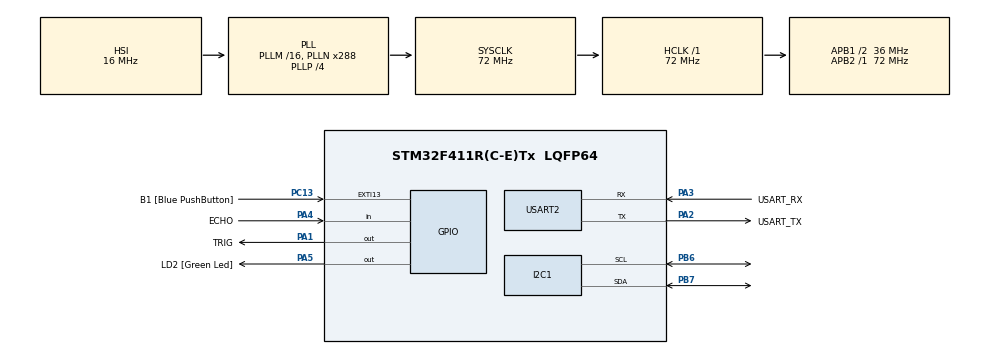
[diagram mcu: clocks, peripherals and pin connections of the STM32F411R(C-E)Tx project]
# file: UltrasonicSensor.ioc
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Mcu.Family=STM32F4
Mcu.Name=STM32F411R(C-E)Tx
Mcu.Package=LQFP64
NVIC.PriorityGroup=NVIC_PRIORITYGROUP_0
PA1.GPIO_Label=TRIG
PA1.Signal=GPIO_Output
PA13.GPIO_Label=TMS
PA13.Mode=Serial_Wire
PA13.Signal=SYS_JTMS-SWDIO
PA14.GPIO_Label=TCK
PA14.Mode=Serial_Wire
PA14.Signal=SYS_JTCK-SWCLK
PA2.GPIO_Label=USART_TX
PA2.Mode=Asynchronous
PA2.Signal=USART2_TX
PA3.GPIO_Label=USART_RX
PA3.Mode=Asynchronous
PA3.Signal=USART2_RX
PA4.GPIO_Label=ECHO
PA4.Signal=GPIO_Input
PA5.GPIO_Label=LD2 [Green Led]
PA5.Signal=GPIO_Output
PB3.GPIO_Label=SWO
PB3.Signal=SYS_JTDO-SWO
PB6.Mode=I2C
PB6.Signal=I2C1_SCL
PB7.Mode=I2C
PB7.Signal=I2C1_SDA
PC13-ANTI_TAMP.GPIO_Label=B1 [Blue PushButton]
PC13-ANTI_TAMP.GPIO_ModeDefaultEXTI=GPIO_MODE_IT_FALLING
PC13-ANTI_TAMP.Signal=GPXTI13
PC14-OSC32_IN.Signal=RCC_OSC32_IN
PC15-OSC32_OUT.Signal=RCC_OSC32_OUT
PH0\ -\ OSC_IN.Mode=HSE-External-Oscillator
PH0\ -\ OSC_IN.Signal=RCC_OSC_IN
PH1\ -\ OSC_OUT.Mode=HSE-External-Oscillator
PH1\ -\ OSC_OUT.Signal=RCC_OSC_OUT
ProjectManager.HeapSize=0x200
ProjectManager.StackSize=0x400
ProjectManager.TargetToolchain=STM32CubeIDE
RCC.48MHZClocksFreq_Value=72000000
RCC.AHBFreq_Value=72000000
RCC.APB1CLKDivider=RCC_HCLK_DIV2
RCC.APB1Freq_Value=36000000
RCC.APB1TimFreq_Value=72000000
RCC.APB2Freq_Value=72000000
RCC.APB2TimFreq_Value=72000000
RCC.CortexFreq_Value=72000000
RCC.FLatency-AdvancedSettings=FLASH_LATENCY_2
RCC.HCLKFreq_Value=72000000
RCC.HSE_VALUE=8000000
RCC.HSI_VALUE=16000000
RCC.LSE_VALUE=32768
RCC.PLLN=288
RCC.PLLP=RCC_PLLP_DIV4
RCC.SYSCLKFreq_VALUE=72000000
RCC.SYSCLKSource=RCC_SYSCLKSOURCE_PLLCLK
RCC.VCOOutputFreq_Value=288000000
USART2.VirtualMode=VM_ASYNC
board=NUCLEO-F411RE

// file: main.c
/* USER CODE BEGIN Header */
/**
  ******************************************************************************
  * @file           : main.c
  * @brief          : Main program body
  ******************************************************************************
  * @attention
  *
  * <h2><center>&copy; Copyright (c) 2019 STMicroelectronics.
  * All rights reserved.</center></h2>
  *
  * This software component is licensed by ST under BSD 3-Clause license,
  * the "License"; You may not use this file except in compliance with the
  * License. You may obtain a copy of the License at:
  *                        opensource.org/licenses/BSD-3-Clause
  *
  ******************************************************************************
  */
/* USER CODE END Header */

#include "main.h"
#include "stm32f4xx.h"
#include "dwt_stm32_delay.h"

I2C_HandleTypeDef hi2c1;

UART_HandleTypeDef huart2;

void SystemClock_Config(void);
static void MX_GPIO_Init(void);
static void MX_I2C1_Init(void);
static void MX_USART2_UART_Init(void);

/* USER CODE BEGIN 0 */

int k=0;
uint32_t local_time, sensor_time;
uint32_t distance;

uint32_t hcsr04_read (void)
{

	local_time=0;
	HAL_GPIO_WritePin(GPIOA, TRIG_Pin, GPIO_PIN_RESET);  // pull the TRIG pin HIGH
	DWT_Delay_us(2); //wait for 2 us

	HAL_GPIO_WritePin(GPIOA, TRIG_Pin, GPIO_PIN_SET);  // pull the TRIG pin HIGH
	DWT_Delay_us(10); //wait for 10 us

	HAL_GPIO_WritePin(GPIOA, TRIG_Pin, GPIO_PIN_RESET);  // pull the TRIG pin low

	// read the time for which the pin is high

	while (!(HAL_GPIO_ReadPin(GPIOA, ECHO_Pin)))// wait for the ECHO pin to go high
	{
		//HAL_GPIO_WritePin(GPIOA, LD2_Pin,GPIO_PIN_RESET);
	}

	while (HAL_GPIO_ReadPin(GPIOA, ECHO_Pin))    // while the pin is high
	 {
		//HAL_GPIO_WritePin(GPIOA, LD2_Pin, GPIO_PIN_SET);
		local_time++;   // measure time for which the pin is high
		DWT_Delay_us(1); //wait for 1 us

	 }
	return local_time*2;
}

/* USER CODE END 0 */

int main(void)
{

  /* MCU Configuration--------------------------------------------------------*/

  /* Reset of all peripherals, Initializes the Flash interface and the Systick. */
  HAL_Init();

  /* USER CODE BEGIN Init */

  DWT_Delay_Init();

  /* USER CODE END Init */

  /* Configure the system clock */
  SystemClock_Config();

  /* Initialize all configured peripherals */
  MX_GPIO_Init();
  MX_I2C1_Init();
  MX_USART2_UART_Init();

  /* Infinite loop */
  /* USER CODE BEGIN WHILE */

  HAL_GPIO_WritePin(GPIOA, TRIG_Pin, GPIO_PIN_RESET);  // pull the TRIG pin low

  while (1)
  {
    /* USER CODE END WHILE */

	  sensor_time = hcsr04_read();
	  distance  = sensor_time * (.034/2); // meters per second * seconds

	  HAL_Delay(200);

	/*

		HAL_GPIO_WritePin(GPIOA, TRIG_Pin, GPIO_PIN_SET);  // pull the TRIG pin HIGH
		DWT_Delay_us(10);  // wait for
		HAL_GPIO_WritePin(GPIOA, TRIG_Pin, GPIO_PIN_RESET);  // pull the TRIG pin low
		DWT_Delay_us(10);  // wait for
		k++;

    USER CODE BEGIN 3 */
  }
  /* USER CODE END 3 */
}

void SystemClock_Config(void)
{
  RCC_OscInitTypeDef RCC_OscInitStruct = {0};
  RCC_ClkInitTypeDef RCC_ClkInitStruct = {0};

  /** Configure the main internal regulator output voltage
  */
  __HAL_RCC_PWR_CLK_ENABLE();
  __HAL_PWR_VOLTAGESCALING_CONFIG(PWR_REGULATOR_VOLTAGE_SCALE1);
  /** Initializes the CPU, AHB and APB busses clocks
  */
  RCC_OscInitStruct.OscillatorType = RCC_OSCILLATORTYPE_HSI;
  RCC_OscInitStruct.HSIState = RCC_HSI_ON;
  RCC_OscInitStruct.HSICalibrationValue = RCC_HSICALIBRATION_DEFAULT;
  RCC_OscInitStruct.PLL.PLLState = RCC_PLL_ON;
  RCC_OscInitStruct.PLL.PLLSource = RCC_PLLSOURCE_HSI;
  RCC_OscInitStruct.PLL.PLLM = 16;
  RCC_OscInitStruct.PLL.PLLN = 288;
  RCC_OscInitStruct.PLL.PLLP = RCC_PLLP_DIV4;
  RCC_OscInitStruct.PLL.PLLQ = 4;
  if (HAL_RCC_OscConfig(&RCC_OscInitStruct) != HAL_OK)
  {
    Error_Handler();
  }
  /** Initializes the CPU, AHB and APB busses clocks
  */
  RCC_ClkInitStruct.ClockType = RCC_CLOCKTYPE_HCLK|RCC_CLOCKTYPE_SYSCLK
                              |RCC_CLOCKTYPE_PCLK1|RCC_CLOCKTYPE_PCLK2;
  RCC_ClkInitStruct.SYSCLKSource = RCC_SYSCLKSOURCE_PLLCLK;
  RCC_ClkInitStruct.AHBCLKDivider = RCC_SYSCLK_DIV1;
  RCC_ClkInitStruct.APB1CLKDivider = RCC_HCLK_DIV2;
  RCC_ClkInitStruct.APB2CLKDivider = RCC_HCLK_DIV1;

  if (HAL_RCC_ClockConfig(&RCC_ClkInitStruct, FLASH_LATENCY_2) != HAL_OK)
  {
    Error_Handler();
  }
}

static void MX_I2C1_Init(void)
{

  hi2c1.Instance = I2C1;
  hi2c1.Init.ClockSpeed = 100000;
  hi2c1.Init.DutyCycle = I2C_DUTYCYCLE_2;
  hi2c1.Init.OwnAddress1 = 0;
  hi2c1.Init.AddressingMode = I2C_ADDRESSINGMODE_7BIT;
  hi2c1.Init.DualAddressMode = I2C_DUALADDRESS_DISABLE;
  hi2c1.Init.OwnAddress2 = 0;
  hi2c1.Init.GeneralCallMode = I2C_GENERALCALL_DISABLE;
  hi2c1.Init.NoStretchMode = I2C_NOSTRETCH_DISABLE;
  if (HAL_I2C_Init(&hi2c1) != HAL_OK)
  {
    Error_Handler();
  }

}

static void MX_USART2_UART_Init(void)
{

  huart2.Instance = USART2;
  huart2.Init.BaudRate = 115200;
  huart2.Init.WordLength = UART_WORDLENGTH_8B;
  huart2.Init.StopBits = UART_STOPBITS_1;
  huart2.Init.Parity = UART_PARITY_NONE;
  huart2.Init.Mode = UART_MODE_TX_RX;
  huart2.Init.HwFlowCtl = UART_HWCONTROL_NONE;
  huart2.Init.OverSampling = UART_OVERSAMPLING_16;
  if (HAL_UART_Init(&huart2) != HAL_OK)
  {
    Error_Handler();
  }

}

static void MX_GPIO_Init(void)
{
  GPIO_InitTypeDef GPIO_InitStruct = {0};

  /* GPIO Ports Clock Enable */
  __HAL_RCC_GPIOC_CLK_ENABLE();
  __HAL_RCC_GPIOH_CLK_ENABLE();
  __HAL_RCC_GPIOA_CLK_ENABLE();
  __HAL_RCC_GPIOB_CLK_ENABLE();

  /*Configure GPIO pin Output Level */
  HAL_GPIO_WritePin(GPIOA, TRIG_Pin|LD2_Pin, GPIO_PIN_RESET);

  /*Configure GPIO pin : B1_Pin */
  GPIO_InitStruct.Pin = B1_Pin;
  GPIO_InitStruct.Mode = GPIO_MODE_IT_FALLING;
  GPIO_InitStruct.Pull = GPIO_NOPULL;
  HAL_GPIO_Init(B1_GPIO_Port, &GPIO_InitStruct);

  /*Configure GPIO pins : TRIG_Pin LD2_Pin */
  GPIO_InitStruct.Pin = TRIG_Pin|LD2_Pin;
  GPIO_InitStruct.Mode = GPIO_MODE_OUTPUT_PP;
  GPIO_InitStruct.Pull = GPIO_NOPULL;
  GPIO_InitStruct.Speed = GPIO_SPEED_FREQ_LOW;
  HAL_GPIO_Init(GPIOA, &GPIO_InitStruct);

  /*Configure GPIO pin : ECHO_Pin */
  GPIO_InitStruct.Pin = ECHO_Pin;
  GPIO_InitStruct.Mode = GPIO_MODE_INPUT;
  GPIO_InitStruct.Pull = GPIO_NOPULL;
  HAL_GPIO_Init(ECHO_GPIO_Port, &GPIO_InitStruct);

}

void Error_Handler(void)
{
}

/************************ (C) COPYRIGHT STMicroelectronics *****END OF FILE****/
